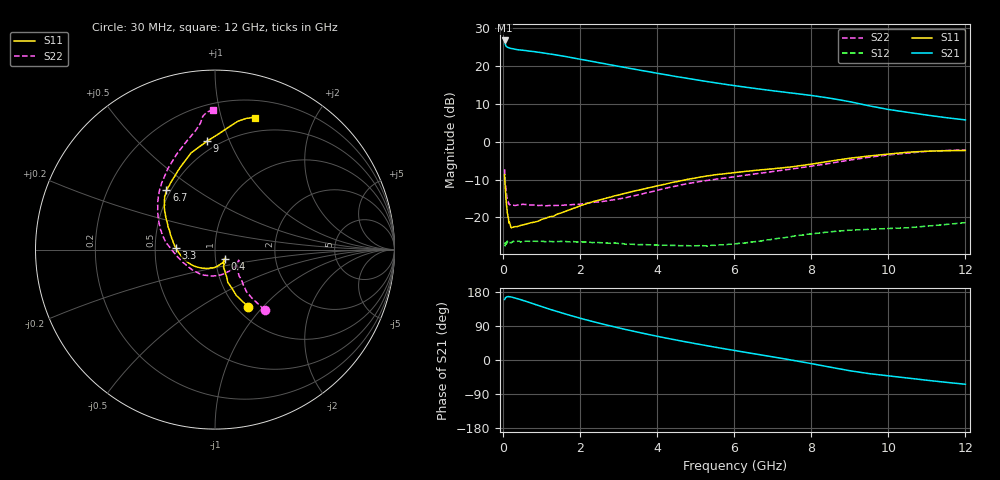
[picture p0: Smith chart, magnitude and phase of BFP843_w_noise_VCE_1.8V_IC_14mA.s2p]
! Infineon Technologies  Discrete & RF Semiconductors
! BFP843
! VCE =  1.8 V,  IC =  14 mA
! Common Emitter S-Parameters:  Aug 2013
# GHz  S  MA  R  50
!  f  S11  S21  S12  S22
! GHz  MAG  ANG  MAG  ANG  MAG  ANG  MAG  ANG
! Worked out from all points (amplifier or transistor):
!   103 points, 30 MHz to 12 GHz, reference 50 ohm
!   highest |S21| = 26.8 dB at 30 MHz (marker M1)
!   |S21| within 3 dB of that: start of sweep to 830.4 MHz
!   unconditionally stable (mu >= 1): 128.3 MHz to 10.86 GHz
!   at 400 MHz: K = 1.01, MAG = 24.5 dB, |S12| = -26.2 dB
!   at 3.7 GHz: K = 1.37, MAG = 19.3 dB, |S12| = -27.2 dB
!   at 12 GHz: K = 0.85, MSG = 13.6 dB, |S12| = -21.4 dB
!   lowest NFmin = 0.95 dB at 450 MHz
!   S11 on the Smith chart (normalised r, x): 30 MHz: 1.13, -0.83; 400 MHz: 1.11, -0.12; 3.3 GHz: 0.64, +0.01; 6.7 GHz: 0.47, +0.38; 9 GHz: 0.43, +0.83; 12 GHz: 0.36, +1.28
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0.03  0.3661 -60.0  21.76 159.7  0.0418 27.3  0.4346 -50.6
0.04  0.2816 -65.1  20.16 161.2  0.042 21.6  0.3397 -52.7
0.05  0.2326 -66.4  19.3 163.9  0.0467 18.9  0.2925 -53.2
0.07  0.1654 -66.8  18.23 165.7  0.0438 13.9  0.2202 -48.3
0.1  0.1146 -64.3  17.75 167.0  0.0489 13.2  0.1702 -42.1
0.13  0.0969 -57.2  17.5 167.4  0.0467 9.3  0.153 -35.4
0.2  0.0731 -46.5  17.03 166.3  0.0463 6.5  0.1458 -27.0
0.4  0.0772 -43.7  16.36 160.7  0.0489 2.1  0.1463 -26.7
0.9  0.0893 -75.6  15.22 144.0  0.0483 -0.4  0.1439 -49.3
1.3  0.1039 -102.7  14.21 130.9  0.048 -1.8  0.144 -70.9
1.6  0.1201 -120.0  13.39 121.6  0.0483 -3.5  0.146 -86.2
2.1  0.1486 -142.2  12.02 107.3  0.0475 -4.8  0.1525 -110.3
2.7  0.1818 -164.1  10.55 91.8  0.0461 -6.4  0.1659 -134.7
3.3  0.2168 177.8  9.284 77.7  0.0445 -5.6  0.1891 -156.4
4.1  0.2686 159.2  7.862 60.4  0.0428 -4.3  0.2355 -177.9
5  0.3335 145.7  6.586 42.9  0.0423 -0.7  0.2923 167.3
6.1  0.3963 135.3  5.421 23.5  0.0454 5.5  0.3508 153.2
6.7  0.4269 129.3  4.934 13.4  0.0489 7.2  0.386 145.8
8.5  0.5562 103.7  3.75 -19.1  0.0648 2.6  0.5207 120.4
9  0.6062 94.1  3.379 -28.3  0.068 -1.4  0.5728 111.9
10.5  0.7272 79.8  2.448 -47.6  0.0731 -7.7  0.7085 96.6
12  0.7664 73.1  1.943 -64.0  0.0855 -13.9  0.7806 90.8
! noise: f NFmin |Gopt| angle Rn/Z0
0.45  0.95  0.05  -171  0.02
0.9  0.96  0.05  -164  0.05
1.5  0.98  0.05  -156  0.11
1.9  1  0.05  -146  0.18
2.4  1.03  0.05  -137  0.25
3.5  1.08  0.04  -114  0.28
5.5  1.2  0.2  -116  0.35
10  1.79  0.5  -64  0.47
